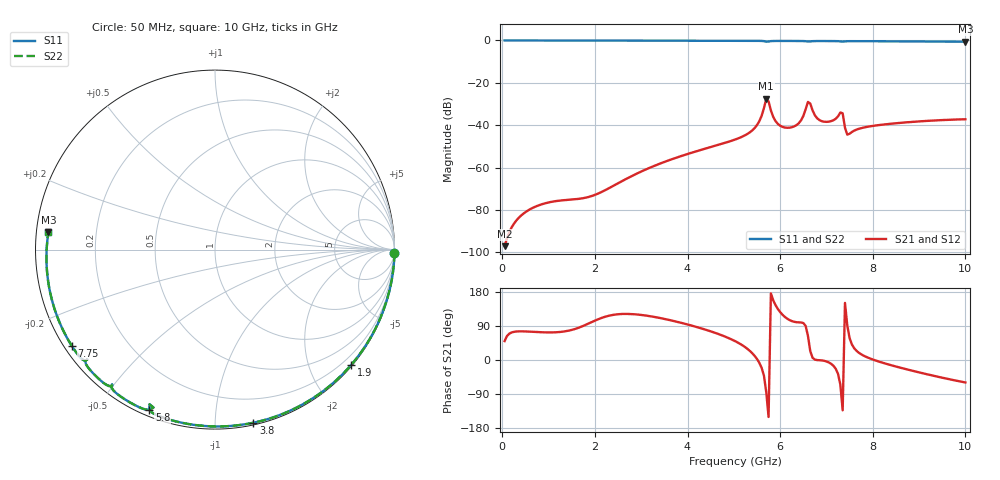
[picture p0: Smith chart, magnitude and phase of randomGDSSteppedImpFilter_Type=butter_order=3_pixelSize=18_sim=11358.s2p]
! freq	dB(S11)	phase(S11)	dB(S12)	phase(S12)
!  dB(S21)	phase(S21)	dB(S22)	phase(S22)
!S-par simulation data
#  GHz  S  DB  R 50
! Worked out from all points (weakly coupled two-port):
!   200 points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, 50 MHz to 10 GHz, reference 50 ohm
!   highest |S21| = -27.54 dB at 5.7 GHz (marker M1); lowest = -97.1 dB at 50 MHz (marker M2)
!   lowest |S11| = -0.6 dB at 10 GHz (marker M3), VSWR 28.90, Z = 1.73 + j2.62 ohm
!   |S11| at or under -10 dB: nowhere
!   |S22| runs from -0.6 to 0.0 dB; largest |S21 - S12| = 0
!   S11 on the Smith chart (normalised r, x): 50 MHz: open; 1.9 GHz: 0.02, -2.74; 3.8 GHz: 0.02, -1.25; 5.8 GHz: 0.03, -0.67; 7.75 GHz: 0.02, -0.30; 10 GHz: 0.03, +0.05
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0.05  -0.00 -1.1  -97.10 49.9  -97.10 49.9  -0.00 -1.1
1.75  -0.05 -37.0  -74.43 90.1  -74.43 90.1  -0.05 -37.0
1.9  -0.05 -40.1  -73.65 98.3  -73.65 98.3  -0.05 -40.1
3.4  -0.09 -69.9  -58.17 111.0  -58.17 111.0  -0.09 -69.9
3.8  -0.10 -77.5  -55.01 100.0  -55.01 100.0  -0.10 -77.5
5.05  -0.15 -100.5  -46.59 48.4  -46.59 48.4  -0.15 -100.5
5.5  -0.19 -108.8  -39.94 2.6  -39.94 2.6  -0.19 -108.8
5.6  -0.23 -111.0  -35.57 -20.6  -35.57 -20.6  -0.23 -111.0
5.7  -0.58 -112.9  -27.54 -85.2  -27.54 -85.2  -0.58 -112.9
5.8  -0.31 -112.3  -33.04 175.8  -33.04 175.8  -0.31 -112.3
5.95  -0.23 -115.5  -39.37 134.8  -39.37 134.8  -0.23 -115.6
6.15  -0.23 -119.3  -41.21 109.3  -41.21 109.3  -0.23 -119.3
6.4  -0.25 -123.9  -39.12 99.3  -39.12 99.3  -0.25 -123.9
6.6  -0.50 -127.4  -29.01 63.9  -29.01 63.9  -0.50 -127.4
6.7  -0.33 -127.8  -33.00 5.8  -33.00 5.8  -0.33 -127.8
6.95  -0.28 -132.7  -38.36 -2.1  -38.36 -2.1  -0.28 -132.7
7.35  -0.55 -139.3  -34.37 -132.8  -34.37 -132.8  -0.55 -139.3
7.4  -0.41 -139.5  -41.24 150.7  -41.24 150.7  -0.41 -139.5
7.45  -0.35 -140.6  -44.45 90.6  -44.45 90.6  -0.35 -140.6
7.75  -0.34 -146.1  -41.38 15.0  -41.38 15.0  -0.34 -146.1
8.35  -0.40 -156.5  -39.40 -12.2  -39.40 -12.2  -0.40 -156.5
10  -0.60 174.0  -37.19 -59.3  -37.19 -59.3  -0.60 174.0
